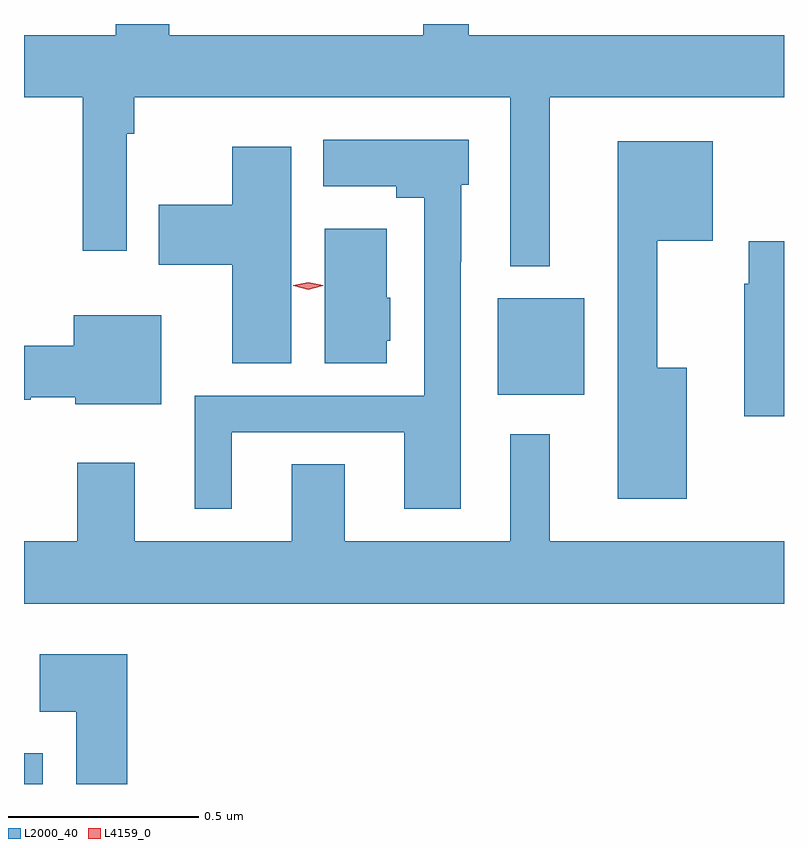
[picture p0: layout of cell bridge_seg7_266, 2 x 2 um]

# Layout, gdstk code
import gdstk
lib = gdstk.Library(unit=1e-6, precision=1e-09)
def R(c, l, rs):  # rectangles x0, y0, x1, y1
    for r in rs: c.add(gdstk.rectangle(r[:2], r[2:], *l))
def P(c, l, *ps):  # polygons
    for p in ps: c.add(gdstk.Polygon(p, *l))
L2000_40 = (2000, 40)
L4159_0 = (4159, 0)

bridge_seg7_266 = lib.new_cell('bridge_seg7_266')
R(bridge_seg7_266, L2000_40, [(227.163,1048.093,227.212,1048.174), (228.41,1049.117,228.637,1049.371)])
P(bridge_seg7_266, L2000_40, [(228.547,1049.9),(229.163,1049.9),(229.163,1050.064),(228.334,1050.064),(228.334,1050.093),(228.213,1050.093),(228.213,1050.064),(227.545,1050.064),(227.545,1050.093),(227.405,1050.093),(227.405,1050.064),(227.163,1050.064),(227.163,1049.9),(227.317,1049.9),(227.317,1049.496),(227.433,1049.496),(227.433,1049.804),(227.453,1049.804),(227.453,1049.9),(228.443,1049.9),(228.443,1049.456),(228.547,1049.456)],
  [(227.71,1049.019),(228.164,1049.019),(228.164,1048.818),(228.312,1048.818),(228.312,1049.467),(228.313,1049.467),(228.313,1049.67),(228.334,1049.67),(228.334,1049.788),(227.951,1049.788),(227.951,1049.666),(228.143,1049.666),(228.143,1049.636),(228.216,1049.636),(228.216,1049.115),(227.612,1049.115),(227.612,1048.818),(227.71,1048.818)],
  [(228.907,1049.188),(228.829,1049.188),(228.829,1049.522),(228.976,1049.522),(228.976,1049.785),(228.725,1049.785),(228.725,1048.844),(228.907,1048.844)],
  [(227.866,1049.77),(227.711,1049.77),(227.711,1049.617),(227.518,1049.617),(227.518,1049.459),(227.711,1049.459),(227.711,1049.2),(227.866,1049.2)],
  [(228.118,1049.259),(228.127,1049.259),(228.127,1049.373),(228.118,1049.373),(228.118,1049.554),(227.954,1049.554),(227.954,1049.2),(228.118,1049.2)],
  [(229.163,1049.521),(229.07,1049.521),(229.07,1049.409),(229.058,1049.409),(229.058,1049.061),(229.163,1049.061)],
  [(227.524,1049.326),(227.294,1049.326),(227.294,1049.246),(227.163,1049.246),(227.163,1049.104),(227.181,1049.104),(227.181,1049.111),(227.298,1049.111),(227.298,1049.093),(227.524,1049.093)],
  [(229.163,1048.732),(228.547,1048.732),(228.547,1049.014),(228.443,1049.014),(228.443,1048.732),(228.007,1048.732),(228.007,1048.934),(227.867,1048.934),(227.867,1048.732),(227.455,1048.732),(227.455,1048.939),(227.303,1048.939),(227.303,1048.732),(227.163,1048.732),(227.163,1048.568),(229.163,1048.568)],
  [(227.435,1048.435),(227.205,1048.435),(227.205,1048.283),(227.3,1048.283),(227.3,1048.093),(227.435,1048.093)])
P(bridge_seg7_266, L4159_0, [(227.911,1049.394),(227.871,1049.404),(227.871,1049.404),(227.871,1049.405),(227.911,1049.414),(227.95,1049.405),(227.95,1049.404),(227.95,1049.404)])

lib.write_gds('bridge_seg7_266.gds')
